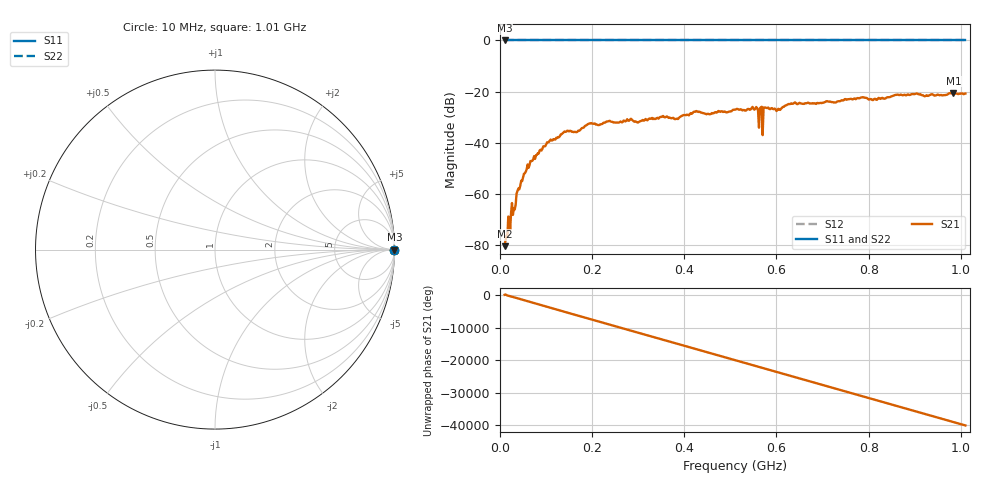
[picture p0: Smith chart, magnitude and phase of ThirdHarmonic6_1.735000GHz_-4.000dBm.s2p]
! 8/16/2025 8:54:10 PM
! C:\ANRITSUVNA\TEMP\TEMP.S2P
! CHANNEL.1
! TR.MEASUREMENT
! RAW.DATA
! RF.CORRECTION.OFF
! AVERAGING.OFF
! IF.BANDWIDTH: 5KHZ
! SWEEPTYPE:  FREQ.SWEEP(Linear)
! Reference Plane Port Info
! PORT:  PORT1  PORT2
! DISTANCE:  0  m  0  m
! TIME:  0  s  0  s
! PHASE.OFFSET:  0  deg.  0  deg.
! LOSS:  0  dB  0  dB
! REF.LOSS:  0  dB  0  dB
! REF.FREQ:  0  Hz  0  Hz
! Power Info
! POWER:  -20  dBm  -20  dBm
! EFF.POWER:  -20  dBm  -20  dBm
! SOURCE.ATTEN:  0  dB  0  dB
! TEST.ATTEN:  0  dB  0  dB
# GHZ S RI R 50.0
! FREQ.GHZ  S11RE  S11IM  S21RE  S21IM  S12RE  S12IM  S22RE  S22IM
!; PortSelection: Port_12
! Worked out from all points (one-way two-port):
!   501 points, 10 MHz to 1.01 GHz, reference 50 ohm
!   highest |S21| = -20.55 dB at 984 MHz (marker M1); lowest = -80.6 dB at 10 MHz (marker M2)
!   lowest |S11| = 0.0 dB at 10 MHz (marker M3)
!   |S11| at or under -10 dB: nowhere
!   |S22| runs from 0.0 to 0.0 dB; largest |S21 - S12| = 1.1
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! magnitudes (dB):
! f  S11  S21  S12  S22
! 10 MHz  0.0  -80.6  0.0  0.0
! 22 MHz  0.0  -74.3  0.0  0.0
! 32 MHz  0.0  -66.2  0.0  0.0
! 40 MHz  0.0  -58.0  0.0  0.0
! 70 MHz  0.0  -47.2  0.0  0.0
! 106 MHz  0.0  -39.8  0.0  0.0
! 142 MHz  0.0  -35.8  0.0  0.0
! 178 MHz  0.0  -34.3  0.0  0.0
! 196 MHz  0.0  -32.5  0.0  0.0
! 344 MHz  0.0  -30.6  0.0  0.0
! 510 MHz  0.0  -27.1  0.0  0.0
! 554 MHz  0.0  -26.7  0.0  0.0
! 564 MHz  0.0  -26.6  0.0  0.0
! 566 MHz  0.0  -26.2  0.0  0.0
! 574 MHz  0.0  -26.3  0.0  0.0
! 576 MHz  0.0  -26.3  0.0  0.0
! 604 MHz  0.0  -26.7  0.0  0.0
! 636 MHz  0.0  -24.8  0.0  0.0
! 678 MHz  0.0  -24.6  0.0  0.0
! 844 MHz  0.0  -22.3  0.0  0.0
! 984 MHz  0.0  -20.6  0.0  0.0
! 1.01 GHz  0.0  -20.8  0.0  0.0
